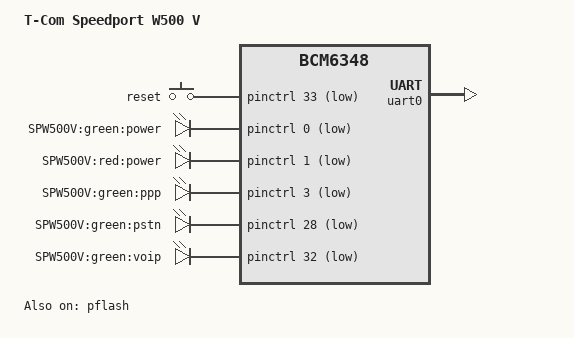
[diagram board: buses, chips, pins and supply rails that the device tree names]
/dts-v1/;

#include "bcm6348.dtsi"

#include <dt-bindings/input/input.h>

/ {
	model = "T-Com Speedport W500 V";
	compatible = "t-com,spw500v", "brcm,bcm6348";

	chosen {
		bootargs = "rootfstype=squashfs,jffs2 noinitrd console=ttyS0,115200";
		stdout-path = "serial0:115200n8";
	};

	gpio-keys-polled {
		compatible = "gpio-keys-polled";
		#address-cells = <1>;
		#size-cells = <0>;
		poll-interval = <20>;

		reset {
			label = "reset";
			gpios = <&pinctrl 33 1>;
			linux,code = <KEY_RESTART>;
			debounce-interval = <60>;
		};
	};

	gpio-leds {
		compatible = "gpio-leds";

		power_green {
			label = "SPW500V:green:power";
			gpios = <&pinctrl 0 1>;
			default-state = "on";
		};
		power_red {
			label = "SPW500V:red:power";
			gpios = <&pinctrl 1 1>;
		};
		ppp_green {
			label = "SPW500V:green:ppp";
			gpios = <&pinctrl 3 1>;
		};
		pstn_green {
			label = "SPW500V:green:pstn";
			gpios = <&pinctrl 28 1>;
		};
		voip_green {
			label = "SPW500V:green:voip";
			gpios = <&pinctrl 32 1>;
		};
	};
};

&pflash {
	status = "ok";

	partitions {
		compatible = "fixed-partitions";
		#address-cells = <1>;
		#size-cells = <1>;

		cfe@0 {
			label = "CFE";
			reg = <0x000000 0x010000>;
			read-only;
		};

		linux@10000 {
			label = "linux";
			reg = <0x010000 0x3e0000>;
			compatible = "brcm,bcm963xx-imagetag";
		};

		nvram@3f0000 {
			label = "nvram";
			reg = <0x3f0000 0x010000>;
		};
	};
};

&pinctrl {
	pinctrl-names = "default";
	pinctrl-0 = <&pinctrl_pci>;
};

&uart0 {
	status = "ok";
};
